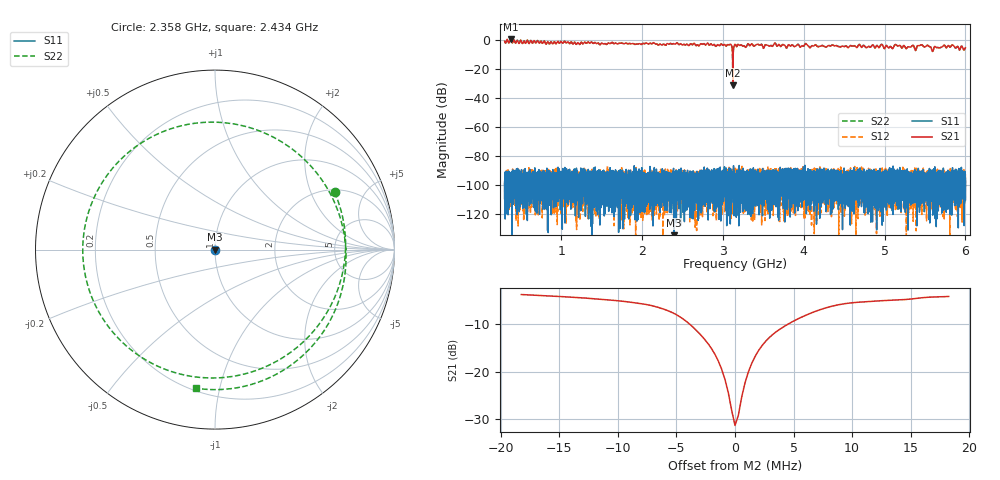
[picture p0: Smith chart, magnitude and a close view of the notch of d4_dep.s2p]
!Agilent Technologies,N5230C,SG49000117,A.08.50.07
!Agilent N5230C: A.08.50.07
!Date: Sunday, March 17, 2024 07:25:21
!Correction: S11(Off)
!S21(Off)
!S12(Off)
!S22(Off)
!S2P File: Measurements: S11, S21, S12, S22:
# Hz S  RI  R 50
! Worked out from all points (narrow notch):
!   20001 points, 300 MHz to 6 GHz, reference 50 ohm
!   highest |S21| = 0.47 dB at 373.8 MHz (marker M1); lowest = -31.4 dB at 3.123 GHz (marker M2)
!   notch at M2: 28.0 dB deep, 3.07 MHz wide at half that depth
!   lowest |S11| = -148.9 dB at 2.396 GHz (marker M3), VSWR 1.00, Z = 50 + j1.89e-06 ohm
!   |S11| at or under -10 dB: start of sweep to end of sweep
!   |S22| runs from -31.3 to 0.5 dB; largest |S21 - S12| = 1.1
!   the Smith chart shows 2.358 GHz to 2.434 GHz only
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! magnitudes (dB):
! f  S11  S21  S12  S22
! 300 MHz  -98.2  -0.9  -99.7  -0.9
! 373.8 MHz  -95.4  0.5  -101.5  0.5
! 1.25 GHz  -104.2  -1.7  -105.5  -1.7
! 2.2 GHz  -97.5  -3.6  -92.4  -3.6
! 2.396 GHz  -148.9  -2.7  -101.8  -2.7
! 3.079 GHz  -100.2  -3.4  -105.1  -3.4
! 3.101 GHz  -104.6  -3.3  -92.9  -3.3
! 3.123 GHz  -93.3  -31.4  -100.3  -31.3
! 3.15 GHz  -101.9  -3.1  -99.0  -3.1
! 3.168 GHz  -99.7  -4.6  -98.2  -4.5
! 3.268 GHz  -94.5  -4.4  -102.9  -4.3
! 3.334 GHz  -120.6  -4.1  -95.6  -4.0
! 4.03 GHz  -102.2  -2.8  -105.5  -2.7
! 4.1 GHz  -105.4  -4.2  -98.3  -4.1
! 5.05 GHz  -95.4  -5.5  -106.4  -5.5
! 5.152 GHz  -93.9  -3.9  -96.3  -3.9
! 5.388 GHz  -94.7  -6.9  -90.3  -6.9
! 5.447 GHz  -96.3  -3.6  -98.7  -3.6
! 5.545 GHz  -93.6  -4.3  -110.9  -4.3
! 5.589 GHz  -101.2  -7.7  -95.3  -7.7
! 5.838 GHz  -97.5  -3.6  -97.1  -3.6
! 6 GHz  -95.6  -5.6  -101.4  -5.6
